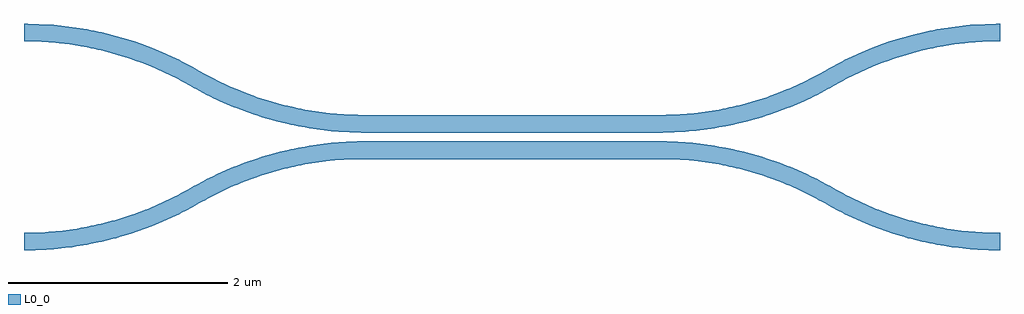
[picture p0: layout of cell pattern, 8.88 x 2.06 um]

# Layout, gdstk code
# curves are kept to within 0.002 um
import gdstk
lib = gdstk.Library(unit=1e-6, precision=1e-09)
def R(c, l, rs):  # rectangles x0, y0, x1, y1
    for r in rs: c.add(gdstk.rectangle(r[:2], r[2:], *l))
def P(c, l, *ps):  # polygons
    for p in ps: c.add(gdstk.Polygon(p, *l))
L0_0 = (0, 0)

pattern = lib.new_cell('pattern')
R(pattern, L0_0, [(406.141,48.365,408.816,48.525), (406.141,48.605,408.816,48.765)])
P(pattern, L0_0, [(410.406,49.031),(410.326,49.17),(410.475,49.251),(410.567,49.296),(410.691,49.351),(410.85,49.412),(411.011,49.465),(411.109,49.492),(411.241,49.524),(411.375,49.55),(411.509,49.57),(411.678,49.587),(411.78,49.593),(411.916,49.596),(411.916,49.436),(411.722,49.43),(411.594,49.419),(411.498,49.407),(411.307,49.374),(411.119,49.329),(410.934,49.272),(410.753,49.203),(410.577,49.123)],
  [(408.816,48.605),(408.816,48.765),(408.945,48.768),(409.074,48.776),(409.234,48.794),(409.425,48.827),(409.613,48.872),(409.798,48.929),(409.979,48.998),(410.126,49.064),(410.27,49.138),(410.326,49.17),(410.406,49.031),(410.196,48.92),(410.103,48.877),(409.978,48.825),(409.818,48.767),(409.623,48.709),(409.424,48.664),(409.223,48.631),(409.054,48.614),(408.952,48.608)],
  [(406.107,48.605),(405.903,48.614),(405.734,48.631),(405.533,48.664),(405.433,48.685),(405.301,48.718),(405.075,48.789),(404.916,48.851),(404.823,48.891),(404.7,48.95),(404.551,49.031),(404.631,49.17),(404.687,49.138),(404.831,49.064),(404.978,48.998),(405.159,48.929),(405.344,48.872),(405.532,48.827),(405.723,48.794),(405.883,48.776),(406.012,48.768),(406.141,48.765),(406.141,48.605)],
  [(404.551,49.031),(404.38,49.123),(404.204,49.203),(404.023,49.272),(403.838,49.329),(403.65,49.374),(403.459,49.407),(403.363,49.419),(403.234,49.43),(403.041,49.436),(403.041,49.596),(403.177,49.593),(403.279,49.587),(403.448,49.57),(403.582,49.55),(403.715,49.524),(403.848,49.492),(403.946,49.465),(404.107,49.412),(404.266,49.351),(404.39,49.296),(404.482,49.251),(404.631,49.17)],
  [(411.848,47.535),(411.644,47.546),(411.476,47.565),(411.308,47.593),(411.208,47.614),(411.076,47.647),(410.946,47.686),(410.818,47.73),(410.691,47.78),(410.506,47.864),(410.326,47.961),(410.406,48.099),(410.548,48.022),(410.664,47.966),(410.783,47.915),(410.903,47.869),(411.057,47.819),(411.15,47.793),(411.339,47.75),(411.53,47.719),(411.722,47.701),(411.851,47.695),(411.916,47.695),(411.916,47.535)],
  [(410.326,47.961),(410.184,48.038),(410.068,48.094),(409.949,48.145),(409.768,48.211),(409.582,48.267),(409.393,48.31),(409.202,48.341),(409.042,48.357),(408.945,48.363),(408.816,48.365),(408.816,48.525),(408.918,48.524),(409.087,48.514),(409.256,48.495),(409.357,48.479),(409.524,48.446),(409.59,48.43),(409.786,48.374),(409.914,48.33),(410.041,48.28),(410.165,48.225),(410.287,48.165),(410.406,48.099)],
  [(404.631,47.961),(404.551,48.099),(404.67,48.165),(404.792,48.225),(404.916,48.28),(405.043,48.33),(405.171,48.374),(405.367,48.43),(405.533,48.467),(405.633,48.485),(405.869,48.514),(406.039,48.524),(406.141,48.525),(406.141,48.365),(406.076,48.365),(405.947,48.359),(405.755,48.341),(405.564,48.31),(405.375,48.267),(405.189,48.211),(405.008,48.145),(404.889,48.094),(404.773,48.038)],
  [(403.041,47.535),(403.041,47.695),(403.17,47.697),(403.267,47.703),(403.427,47.719),(403.618,47.75),(403.807,47.793),(403.9,47.819),(404.054,47.869),(404.174,47.915),(404.293,47.966),(404.409,48.022),(404.551,48.099),(404.631,47.961),(404.451,47.864),(404.266,47.78),(404.139,47.73),(404.011,47.686),(403.88,47.647),(403.749,47.614),(403.649,47.593),(403.481,47.565),(403.346,47.549),(403.245,47.541)])

lib.write_gds('pattern.gds')
